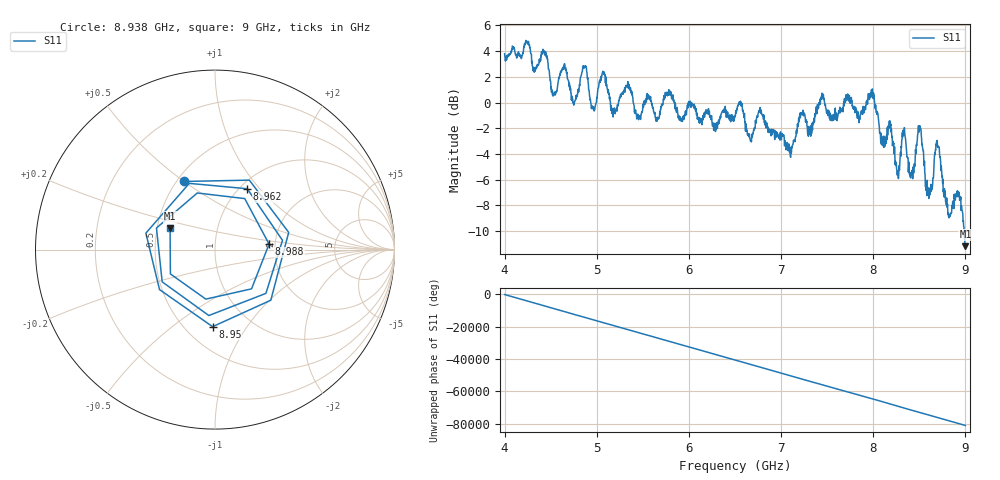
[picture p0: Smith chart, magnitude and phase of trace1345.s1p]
! Created with skrf 1.8.0 (http://scikit-rf.org).
# Hz S RI R 50.0
!freq ReS11 ImS11
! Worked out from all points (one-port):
!   1601 points, 4 GHz to 9 GHz, reference 50 ohm
!   lowest |S11| = -11.2 dB at 9 GHz (marker M1), VSWR 1.76, Z = 29.3 + j7.48 ohm
!   |S11| at or under -10 dB: 8.985913 GHz to end of sweep
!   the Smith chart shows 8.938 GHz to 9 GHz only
!   S11 on the Smith chart (normalised r, x): 8.938 GHz: 0.54, +0.50; 8.95 GHz: 0.67, -0.71; 8.962 GHz: 1.08, +0.86; 8.988 GHz: 1.86, +0.12; 9 GHz: 0.59, +0.15
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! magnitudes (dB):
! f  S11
! 4 GHz  3.8
! 4.434 GHz  3.7
! 4.534 GHz  0.7
! 4.625 GHz  2.6
! 4.747 GHz  0.0
! 4.866 GHz  2.7
! 4.959 GHz  -0.3
! 5.066 GHz  2.4
! 5.25 GHz  0.3
! 5.875 GHz  -0.6
! 6.5 GHz  -1.1
! 7.125 GHz  -3.3
! 7.225 GHz  -0.8
! 7.75 GHz  -0.1
! 7.988 GHz  1.0
! 8.259 GHz  -5.5
! 8.328 GHz  -2.5
! 8.375 GHz  -4.3
! 8.428 GHz  -5.9
! 8.503 GHz  -1.9
! 8.591 GHz  -6.9
! 8.694 GHz  -2.9
! 8.812 GHz  -8.7
! 8.938 GHz  -7.6
! 8.95 GHz  -7.3
! 8.962 GHz  -8.3
! 8.988 GHz  -10.4
! 9 GHz  -11.2
